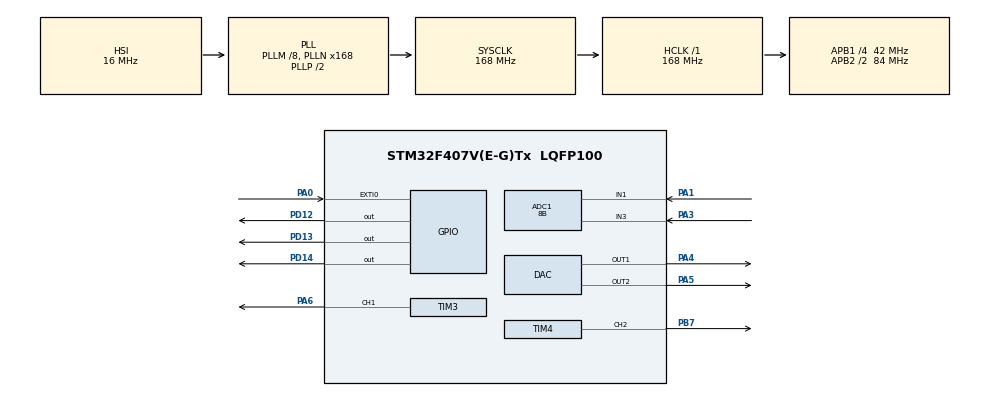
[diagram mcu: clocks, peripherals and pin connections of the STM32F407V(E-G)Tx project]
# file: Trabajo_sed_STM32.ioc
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ADC1.Channel-0\#ChannelRegularConversion=ADC_CHANNEL_1
ADC1.Channel-1\#ChannelRegularConversion=ADC_CHANNEL_3
ADC1.ClockPrescaler=ADC_CLOCK_SYNC_PCLK_DIV4
ADC1.ContinuousConvMode=ENABLE
ADC1.DMAContinuousRequests=ENABLE
ADC1.ExternalTrigConv=ADC_EXTERNALTRIGCONV_T2_TRGO
ADC1.NbrOfConversion=2
ADC1.NbrOfConversionFlag=1
ADC1.Rank-0\#ChannelRegularConversion=1
ADC1.Rank-1\#ChannelRegularConversion=2
ADC1.Resolution=ADC_RESOLUTION_8B
ADC1.SamplingTime-0\#ChannelRegularConversion=ADC_SAMPLETIME_3CYCLES
ADC1.SamplingTime-1\#ChannelRegularConversion=ADC_SAMPLETIME_3CYCLES
ADC1.master=1
DAC.DAC_OutputBuffer=DAC_OUTPUTBUFFER_ENABLE
DAC.DAC_Trigger=DAC_TRIGGER_T2_TRGO
DAC.DAC_Trigger2=DAC_TRIGGER_T2_TRGO
Dma.ADC1.0.Direction=DMA_PERIPH_TO_MEMORY
Dma.ADC1.0.FIFOMode=DMA_FIFOMODE_DISABLE
Dma.ADC1.0.Instance=DMA2_Stream0
Dma.ADC1.0.MemDataAlignment=DMA_MDATAALIGN_BYTE
Dma.ADC1.0.MemInc=DMA_MINC_ENABLE
Dma.ADC1.0.Mode=DMA_CIRCULAR
Dma.ADC1.0.PeriphDataAlignment=DMA_PDATAALIGN_BYTE
Dma.ADC1.0.PeriphInc=DMA_PINC_DISABLE
Dma.ADC1.0.Priority=DMA_PRIORITY_LOW
Dma.Request0=ADC1
Mcu.Family=STM32F4
Mcu.Name=STM32F407V(E-G)Tx
Mcu.Package=LQFP100
NVIC.DMA2_Stream0_IRQn=true\:0\:0\:false\:false\:true\:false\:true
NVIC.EXTI0_IRQn=true\:0\:0\:false\:false\:true\:true\:true
NVIC.PriorityGroup=NVIC_PRIORITYGROUP_0
NVIC.TIM1_BRK_TIM9_IRQn=true\:0\:0\:false\:false\:true\:true\:true
NVIC.TIM1_CC_IRQn=true\:0\:0\:false\:false\:true\:true\:true
NVIC.TIM1_TRG_COM_TIM11_IRQn=true\:0\:0\:false\:false\:true\:true\:true
NVIC.TIM1_UP_TIM10_IRQn=true\:0\:0\:false\:false\:true\:true\:true
PA0-WKUP.Signal=GPXTI0
PA1.Signal=ADCx_IN1
PA3.Signal=ADCx_IN3
PA4.Signal=COMP_DAC1_group
PA5.Signal=COMP_DAC2_group
PA6.Signal=S_TIM3_CH1
PB7.Signal=S_TIM4_CH2
PD12.Signal=GPIO_Output
PD13.Signal=GPIO_Output
PD14.Signal=GPIO_Output
ProjectManager.HeapSize=0x200
ProjectManager.StackSize=0x400
ProjectManager.TargetToolchain=STM32CubeIDE
RCC.48MHZClocksFreq_Value=48000000
RCC.AHBFreq_Value=168000000
RCC.APB1CLKDivider=RCC_HCLK_DIV4
RCC.APB1Freq_Value=42000000
RCC.APB1TimFreq_Value=84000000
RCC.APB2CLKDivider=RCC_HCLK_DIV2
RCC.APB2Freq_Value=84000000
RCC.APB2TimFreq_Value=168000000
RCC.CortexFreq_Value=168000000
RCC.HCLKFreq_Value=168000000
RCC.HSE_VALUE=8000000
RCC.HSI_VALUE=16000000
RCC.LSE_VALUE=32768
RCC.PLLM=8
RCC.PLLN=168
RCC.PLLQ=7
RCC.SYSCLKFreq_VALUE=168000000
RCC.SYSCLKSource=RCC_SYSCLKSOURCE_PLLCLK
RCC.VCOOutputFreq_Value=336000000
SH.ADCx_IN1.0=ADC1_IN1,IN1
SH.ADCx_IN3.0=ADC1_IN3,IN3
SH.COMP_DAC1_group.0=DAC_OUT1,DAC_OUT1
SH.COMP_DAC2_group.0=DAC_OUT2,DAC_OUT2
SH.S_TIM3_CH1.0=TIM3_CH1,PWM Generation1 CH1
SH.S_TIM4_CH2.0=TIM4_CH2,PWM Generation2 CH2
TIM1.Period=500
TIM1.Prescaler=16800
TIM2.Period=1000
TIM2.Prescaler=0
TIM2.TIM_MasterOutputTrigger=TIM_TRGO_UPDATE
TIM3.Channel-PWM\ Generation1\ CH1=TIM_CHANNEL_1
TIM3.Period=9
TIM3.Prescaler=99
TIM4.Channel-PWM\ Generation2\ CH2=TIM_CHANNEL_2
TIM4.Period=9
TIM4.Prescaler=99
VP_TIM1_VS_ClockSourceINT.Mode=Internal
VP_TIM2_VS_ClockSourceINT.Mode=Internal
VP_TIM3_VS_ClockSourceINT.Mode=Internal
VP_TIM4_VS_ClockSourceINT.Mode=Internal
board=STM32F407G-DISC1

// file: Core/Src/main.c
/* USER CODE BEGIN Header */
/**
  ******************************************************************************
  * @file           : main.c
  * @brief          : Main program body
  ******************************************************************************
  * @attention
  *
  * Copyright (c) 2021 STMicroelectronics.
  * All rights reserved.
  *
  * This software is licensed under terms that can be found in the LICENSE file
  * in the root directory of this software component.
  * If no LICENSE file comes with this software, it is provided AS-IS.
  *
  ******************************************************************************
  */
/* USER CODE END Header */
#include "main.h"

ADC_HandleTypeDef hadc1;
DMA_HandleTypeDef hdma_adc1;

DAC_HandleTypeDef hdac;

TIM_HandleTypeDef htim1;
TIM_HandleTypeDef htim2;
TIM_HandleTypeDef htim3;
TIM_HandleTypeDef htim4;

void SystemClock_Config(void);
static void MX_GPIO_Init(void);
static void MX_DMA_Init(void);
static void MX_ADC1_Init(void);
static void MX_TIM2_Init(void);
static void MX_DAC_Init(void);
static void MX_TIM3_Init(void);
static void MX_TIM4_Init(void);
static void MX_TIM1_Init(void);

/* USER CODE BEGIN 0 */
volatile int flag=0;
volatile int state=1;

void HAL_GPIO_EXTI_Callback(uint16_t GPIO_Pin)
{
	if(GPIO_Pin == GPIO_PIN_0 && state == 1){
		HAL_TIM_Base_Start_IT(&htim1);
		state = 0;
	}
}

//uint8_t medida;
volatile uint8_t buffer_in[2];
volatile int led_bajos, led_agudos;
volatile float senal_mono;
volatile int duty_cycle_1, duty_cycle_2;

//muestras para los filtros
float lx_1, lx_2, ly_1, ly_2;
float rx_1, rx_2, ry_1, ry_2;
float pbx_1, pbx_2, pby_1, pby_2;
float pax_1, pax_2, pay_1, pay_2;

//filtro paso bajo 20kHz
float a0 = 0.172893986607494;
float a1 = 0.345787973214988;
float a2 = 0.172893986607494;
float b1 = -0.5300387539709135;
float b2 = 0.22161470040088946;

//filtro paso bajo 250Hz
float a0_pb = 0.00008627874687691115;
float a1_pb = 0.0001725574937538223;
float a2_pb = 0.00008627874687691115;
float b1_pb = -1.9735555323380392;
float b2_pb = 0.9739006473255466;

//filtro paso alto 2kHz
float a0_pa = 0.09534175821687875;
float a1_pa = 0;
float a2_pa = -0.09534175821687875;
float b1_pa = -1.7891079133475518;
float b2_pa = 0.8093164835662425;

//filtros para audio
int filtro_l(int muestra){

	//formula del filtro
	float muestra_in = (float) muestra;
	float muestra_out = a0 * muestra_in + a1 * lx_1 + a2 * lx_2 - b1 * ly_1 - b2 * ly_2;
	//mover valores un puesto
	lx_2 = lx_1;
	lx_1 = muestra_in;
	ly_2 = ly_1;
	ly_1 = muestra_out;
	//devolver valor
	return (int) muestra_out;
}

int filtro_r(int muestra){

	//formula del filtro
	float muestra_in = (float) muestra;
	float muestra_out = a0 * muestra_in + a1 * rx_1 + a2 * rx_2 - b1 * ry_1 - b2 * ry_2;
	//mover valores un puesto
	rx_2 = rx_1;
	rx_1 = muestra_in;
	ry_2 = ry_1;
	ry_1 = muestra_out;
	//devolver valor
	return (int) muestra_out;
}

//filtro paso bajo (led rojo)
int filtro_pb(int muestra){

	//formula del filtro
	float muestra_in = (float) muestra;
	float muestra_out = a0_pb * muestra_in + a1_pb * pbx_1 + a2_pb * pbx_2 - b1_pb * pby_1 - b2_pb * pby_2;
	//mover valores un puesto
	pbx_2 = pbx_1;
	pbx_1 = muestra_in;
	pby_2 = pby_1;
	pby_1 = muestra_out;
	//devolver valor
	return (int) muestra_out;
}

//filtro paso alto (led azul)
int filtro_pa(int muestra){

	//formula del filtro
	float muestra_in = (float) muestra;
	float muestra_out = a0_pa * muestra_in + a1_pa * pax_1 + a2_pa * pax_2 - b1_pa * pay_1 - b2_pa * pay_2;
	//mover valores un puesto
	pax_2 = pax_1;
	pax_1 = muestra_in;
	pay_2 = pay_1;
	pay_1 = muestra_out;
	//devolver valor
	return (int) muestra_out;
}
/* USER CODE END 0 */

int main(void)
{

  /* MCU Configuration--------------------------------------------------------*/

  /* Reset of all peripherals, Initializes the Flash interface and the Systick. */
  HAL_Init();

  /* Configure the system clock */
  SystemClock_Config();

  /* Initialize all configured peripherals */
  MX_GPIO_Init();
  MX_DMA_Init();
  MX_ADC1_Init();
  MX_TIM2_Init();
  MX_DAC_Init();
  MX_TIM3_Init();
  MX_TIM4_Init();
  MX_TIM1_Init();
  /* USER CODE BEGIN 2 */
  HAL_TIM_Base_Start_IT(&htim2);
  HAL_TIM_PWM_Start(&htim3, TIM_CHANNEL_1);
  HAL_TIM_PWM_Start(&htim4, TIM_CHANNEL_2);
  HAL_ADC_Start_DMA(&hadc1, buffer_in, 2);
  HAL_DAC_Start(&hdac, DAC_CHANNEL_1);
  HAL_DAC_Start(&hdac, DAC_CHANNEL_2);
  /* USER CODE END 2 */

  /* Infinite loop */
  while (1)
  {

  }
}

void SystemClock_Config(void)
{
  RCC_OscInitTypeDef RCC_OscInitStruct = {0};
  RCC_ClkInitTypeDef RCC_ClkInitStruct = {0};

  /** Configure the main internal regulator output voltage
  */
  __HAL_RCC_PWR_CLK_ENABLE();
  __HAL_PWR_VOLTAGESCALING_CONFIG(PWR_REGULATOR_VOLTAGE_SCALE1);
  /** Initializes the RCC Oscillators according to the specified parameters
  * in the RCC_OscInitTypeDef structure.
  */
  RCC_OscInitStruct.OscillatorType = RCC_OSCILLATORTYPE_HSI;
  RCC_OscInitStruct.HSIState = RCC_HSI_ON;
  RCC_OscInitStruct.HSICalibrationValue = RCC_HSICALIBRATION_DEFAULT;
  RCC_OscInitStruct.PLL.PLLState = RCC_PLL_ON;
  RCC_OscInitStruct.PLL.PLLSource = RCC_PLLSOURCE_HSI;
  RCC_OscInitStruct.PLL.PLLM = 8;
  RCC_OscInitStruct.PLL.PLLN = 168;
  RCC_OscInitStruct.PLL.PLLP = RCC_PLLP_DIV2;
  RCC_OscInitStruct.PLL.PLLQ = 7;
  if (HAL_RCC_OscConfig(&RCC_OscInitStruct) != HAL_OK)
  {
    Error_Handler();
  }
  /** Initializes the CPU, AHB and APB buses clocks
  */
  RCC_ClkInitStruct.ClockType = RCC_CLOCKTYPE_HCLK|RCC_CLOCKTYPE_SYSCLK
                              |RCC_CLOCKTYPE_PCLK1|RCC_CLOCKTYPE_PCLK2;
  RCC_ClkInitStruct.SYSCLKSource = RCC_SYSCLKSOURCE_PLLCLK;
  RCC_ClkInitStruct.AHBCLKDivider = RCC_SYSCLK_DIV1;
  RCC_ClkInitStruct.APB1CLKDivider = RCC_HCLK_DIV4;
  RCC_ClkInitStruct.APB2CLKDivider = RCC_HCLK_DIV2;

  if (HAL_RCC_ClockConfig(&RCC_ClkInitStruct, FLASH_LATENCY_5) != HAL_OK)
  {
    Error_Handler();
  }
}

static void MX_ADC1_Init(void)
{

  ADC_ChannelConfTypeDef sConfig = {0};

  /** Configure the global features of the ADC (Clock, Resolution, Data Alignment and number of conversion)
  */
  hadc1.Instance = ADC1;
  hadc1.Init.ClockPrescaler = ADC_CLOCK_SYNC_PCLK_DIV4;
  hadc1.Init.Resolution = ADC_RESOLUTION_8B;
  hadc1.Init.ScanConvMode = ENABLE;
  hadc1.Init.ContinuousConvMode = ENABLE;
  hadc1.Init.DiscontinuousConvMode = DISABLE;
  hadc1.Init.ExternalTrigConvEdge = ADC_EXTERNALTRIGCONVEDGE_RISING;
  hadc1.Init.ExternalTrigConv = ADC_EXTERNALTRIGCONV_T2_TRGO;
  hadc1.Init.DataAlign = ADC_DATAALIGN_RIGHT;
  hadc1.Init.NbrOfConversion = 2;
  hadc1.Init.DMAContinuousRequests = ENABLE;
  hadc1.Init.EOCSelection = ADC_EOC_SINGLE_CONV;
  if (HAL_ADC_Init(&hadc1) != HAL_OK)
  {
    Error_Handler();
  }
  /** Configure for the selected ADC regular channel its corresponding rank in the sequencer and its sample time.
  */
  sConfig.Channel = ADC_CHANNEL_1;
  sConfig.Rank = 1;
  sConfig.SamplingTime = ADC_SAMPLETIME_3CYCLES;
  if (HAL_ADC_ConfigChannel(&hadc1, &sConfig) != HAL_OK)
  {
    Error_Handler();
  }
  /** Configure for the selected ADC regular channel its corresponding rank in the sequencer and its sample time.
  */
  sConfig.Channel = ADC_CHANNEL_3;
  sConfig.Rank = 2;
  if (HAL_ADC_ConfigChannel(&hadc1, &sConfig) != HAL_OK)
  {
    Error_Handler();
  }

}

static void MX_DAC_Init(void)
{

  DAC_ChannelConfTypeDef sConfig = {0};

  /** DAC Initialization
  */
  hdac.Instance = DAC;
  if (HAL_DAC_Init(&hdac) != HAL_OK)
  {
    Error_Handler();
  }
  /** DAC channel OUT1 config
  */
  sConfig.DAC_Trigger = DAC_TRIGGER_T2_TRGO;
  sConfig.DAC_OutputBuffer = DAC_OUTPUTBUFFER_ENABLE;
  if (HAL_DAC_ConfigChannel(&hdac, &sConfig, DAC_CHANNEL_1) != HAL_OK)
  {
    Error_Handler();
  }
  /** DAC channel OUT2 config
  */
  if (HAL_DAC_ConfigChannel(&hdac, &sConfig, DAC_CHANNEL_2) != HAL_OK)
  {
    Error_Handler();
  }

}

static void MX_TIM1_Init(void)
{

  TIM_ClockConfigTypeDef sClockSourceConfig = {0};
  TIM_MasterConfigTypeDef sMasterConfig = {0};

  htim1.Instance = TIM1;
  htim1.Init.Prescaler = 16800;
  htim1.Init.CounterMode = TIM_COUNTERMODE_UP;
  htim1.Init.Period = 500;
  htim1.Init.ClockDivision = TIM_CLOCKDIVISION_DIV1;
  htim1.Init.RepetitionCounter = 0;
  htim1.Init.AutoReloadPreload = TIM_AUTORELOAD_PRELOAD_DISABLE;
  if (HAL_TIM_Base_Init(&htim1) != HAL_OK)
  {
    Error_Handler();
  }
  sClockSourceConfig.ClockSource = TIM_CLOCKSOURCE_INTERNAL;
  if (HAL_TIM_ConfigClockSource(&htim1, &sClockSourceConfig) != HAL_OK)
  {
    Error_Handler();
  }
  sMasterConfig.MasterOutputTrigger = TIM_TRGO_RESET;
  sMasterConfig.MasterSlaveMode = TIM_MASTERSLAVEMODE_DISABLE;
  if (HAL_TIMEx_MasterConfigSynchronization(&htim1, &sMasterConfig) != HAL_OK)
  {
    Error_Handler();
  }

}

static void MX_TIM2_Init(void)
{

  TIM_ClockConfigTypeDef sClockSourceConfig = {0};
  TIM_MasterConfigTypeDef sMasterConfig = {0};

  htim2.Instance = TIM2;
  htim2.Init.Prescaler = 0;
  htim2.Init.CounterMode = TIM_COUNTERMODE_UP;
  htim2.Init.Period = 1000;
  htim2.Init.ClockDivision = TIM_CLOCKDIVISION_DIV1;
  htim2.Init.AutoReloadPreload = TIM_AUTORELOAD_PRELOAD_DISABLE;
  if (HAL_TIM_Base_Init(&htim2) != HAL_OK)
  {
    Error_Handler();
  }
  sClockSourceConfig.ClockSource = TIM_CLOCKSOURCE_INTERNAL;
  if (HAL_TIM_ConfigClockSource(&htim2, &sClockSourceConfig) != HAL_OK)
  {
    Error_Handler();
  }
  sMasterConfig.MasterOutputTrigger = TIM_TRGO_UPDATE;
  sMasterConfig.MasterSlaveMode = TIM_MASTERSLAVEMODE_DISABLE;
  if (HAL_TIMEx_MasterConfigSynchronization(&htim2, &sMasterConfig) != HAL_OK)
  {
    Error_Handler();
  }

}

static void MX_TIM3_Init(void)
{

  TIM_ClockConfigTypeDef sClockSourceConfig = {0};
  TIM_MasterConfigTypeDef sMasterConfig = {0};
  TIM_OC_InitTypeDef sConfigOC = {0};

  htim3.Instance = TIM3;
  htim3.Init.Prescaler = 99;
  htim3.Init.CounterMode = TIM_COUNTERMODE_UP;
  htim3.Init.Period = 9;
  htim3.Init.ClockDivision = TIM_CLOCKDIVISION_DIV1;
  htim3.Init.AutoReloadPreload = TIM_AUTORELOAD_PRELOAD_DISABLE;
  if (HAL_TIM_Base_Init(&htim3) != HAL_OK)
  {
    Error_Handler();
  }
  sClockSourceConfig.ClockSource = TIM_CLOCKSOURCE_INTERNAL;
  if (HAL_TIM_ConfigClockSource(&htim3, &sClockSourceConfig) != HAL_OK)
  {
    Error_Handler();
  }
  if (HAL_TIM_PWM_Init(&htim3) != HAL_OK)
  {
    Error_Handler();
  }
  sMasterConfig.MasterOutputTrigger = TIM_TRGO_RESET;
  sMasterConfig.MasterSlaveMode = TIM_MASTERSLAVEMODE_DISABLE;
  if (HAL_TIMEx_MasterConfigSynchronization(&htim3, &sMasterConfig) != HAL_OK)
  {
    Error_Handler();
  }
  sConfigOC.OCMode = TIM_OCMODE_PWM1;
  sConfigOC.Pulse = 0;
  sConfigOC.OCPolarity = TIM_OCPOLARITY_HIGH;
  sConfigOC.OCFastMode = TIM_OCFAST_DISABLE;
  if (HAL_TIM_PWM_ConfigChannel(&htim3, &sConfigOC, TIM_CHANNEL_1) != HAL_OK)
  {
    Error_Handler();
  }
  HAL_TIM_MspPostInit(&htim3);

}

static void MX_TIM4_Init(void)
{

  TIM_ClockConfigTypeDef sClockSourceConfig = {0};
  TIM_MasterConfigTypeDef sMasterConfig = {0};
  TIM_OC_InitTypeDef sConfigOC = {0};

  htim4.Instance = TIM4;
  htim4.Init.Prescaler = 99;
  htim4.Init.CounterMode = TIM_COUNTERMODE_UP;
  htim4.Init.Period = 9;
  htim4.Init.ClockDivision = TIM_CLOCKDIVISION_DIV1;
  htim4.Init.AutoReloadPreload = TIM_AUTORELOAD_PRELOAD_DISABLE;
  if (HAL_TIM_Base_Init(&htim4) != HAL_OK)
  {
    Error_Handler();
  }
  sClockSourceConfig.ClockSource = TIM_CLOCKSOURCE_INTERNAL;
  if (HAL_TIM_ConfigClockSource(&htim4, &sClockSourceConfig) != HAL_OK)
  {
    Error_Handler();
  }
  if (HAL_TIM_PWM_Init(&htim4) != HAL_OK)
  {
    Error_Handler();
  }
  sMasterConfig.MasterOutputTrigger = TIM_TRGO_RESET;
  sMasterConfig.MasterSlaveMode = TIM_MASTERSLAVEMODE_DISABLE;
  if (HAL_TIMEx_MasterConfigSynchronization(&htim4, &sMasterConfig) != HAL_OK)
  {
    Error_Handler();
  }
  sConfigOC.OCMode = TIM_OCMODE_PWM1;
  sConfigOC.Pulse = 0;
  sConfigOC.OCPolarity = TIM_OCPOLARITY_HIGH;
  sConfigOC.OCFastMode = TIM_OCFAST_DISABLE;
  if (HAL_TIM_PWM_ConfigChannel(&htim4, &sConfigOC, TIM_CHANNEL_2) != HAL_OK)
  {
    Error_Handler();
  }
  HAL_TIM_MspPostInit(&htim4);

}

static void MX_DMA_Init(void)
{

  /* DMA controller clock enable */
  __HAL_RCC_DMA2_CLK_ENABLE();

  /* DMA interrupt init */
  /* DMA2_Stream0_IRQn interrupt configuration */
  HAL_NVIC_SetPriority(DMA2_Stream0_IRQn, 0, 0);
  HAL_NVIC_EnableIRQ(DMA2_Stream0_IRQn);

}

static void MX_GPIO_Init(void)
{
  GPIO_InitTypeDef GPIO_InitStruct = {0};

  /* GPIO Ports Clock Enable */
  __HAL_RCC_GPIOA_CLK_ENABLE();
  __HAL_RCC_GPIOD_CLK_ENABLE();
  __HAL_RCC_GPIOB_CLK_ENABLE();

  /*Configure GPIO pin Output Level */
  HAL_GPIO_WritePin(GPIOD, GPIO_PIN_12|GPIO_PIN_13|GPIO_PIN_14, GPIO_PIN_RESET);

  /*Configure GPIO pin : PA0 */
  GPIO_InitStruct.Pin = GPIO_PIN_0;
  GPIO_InitStruct.Mode = GPIO_MODE_IT_RISING;
  GPIO_InitStruct.Pull = GPIO_NOPULL;
  HAL_GPIO_Init(GPIOA, &GPIO_InitStruct);

  /*Configure GPIO pins : PD12 PD13 PD14 */
  GPIO_InitStruct.Pin = GPIO_PIN_12|GPIO_PIN_13|GPIO_PIN_14;
  GPIO_InitStruct.Mode = GPIO_MODE_OUTPUT_PP;
  GPIO_InitStruct.Pull = GPIO_NOPULL;
  GPIO_InitStruct.Speed = GPIO_SPEED_FREQ_LOW;
  HAL_GPIO_Init(GPIOD, &GPIO_InitStruct);

  /* EXTI interrupt init*/
  HAL_NVIC_SetPriority(EXTI0_IRQn, 0, 0);
  HAL_NVIC_EnableIRQ(EXTI0_IRQn);

}

/* USER CODE BEGIN 4 */
void HAL_TIM_PeriodElapsedCallback(TIM_HandleTypeDef *htim)
{
	if(htim->Instance == TIM1){
		if(HAL_GPIO_ReadPin(GPIOA, GPIO_PIN_0) == GPIO_PIN_RESET){
			flag++;
			if (flag > 2){
				flag = 0;
			}
			state = 1;
			HAL_TIM_Base_Stop_IT(&htim1);
		}
	}
}

void HAL_ADC_ConvCpltCallback(ADC_HandleTypeDef *AdcHandle){

	int muestra_l = buffer_in[0];//canal l
	int muestra_r = buffer_in[1];//canal r
	senal_mono = (buffer_in[0] >> 1) + (buffer_in[1] >> 1) - 141;

	//tratamiento de señal para las luces
	int temp_led_bajos = filtro_pb(senal_mono);
	int temp_led_agudos = filtro_pa(senal_mono);

	//elevar la señal al cuadrado
	temp_led_bajos = temp_led_bajos * temp_led_bajos;
	temp_led_agudos = temp_led_agudos * temp_led_agudos;
	//temp_led_bajos *= 4;
	//temp_led_agudos *= 4;

	led_bajos = temp_led_bajos;
	led_agudos = temp_led_agudos;

	//filtro para el audio
	switch(flag){
		case 0:
			muestra_l = filtro_l(muestra_l) - 141;
			muestra_r = filtro_r(muestra_r) - 141;
			HAL_GPIO_WritePin(GPIOD, GPIO_PIN_12, 1);
			HAL_GPIO_WritePin(GPIOD, GPIO_PIN_13, 0);
			HAL_GPIO_WritePin(GPIOD, GPIO_PIN_14, 0);
			break;
		case 1:
			muestra_l = filtro_pb(senal_mono);
			muestra_r = muestra_l;
			HAL_GPIO_WritePin(GPIOD, GPIO_PIN_12, 0);
			HAL_GPIO_WritePin(GPIOD, GPIO_PIN_13, 1);
			HAL_GPIO_WritePin(GPIOD, GPIO_PIN_14, 0);
			break;
		case 2:
			muestra_l = filtro_pa(senal_mono);
			muestra_r = muestra_l;
			HAL_GPIO_WritePin(GPIOD, GPIO_PIN_12, 0);
			HAL_GPIO_WritePin(GPIOD, GPIO_PIN_13, 0);
			HAL_GPIO_WritePin(GPIOD, GPIO_PIN_14, 1);
			break;
	}

	//agrandar la señal a 3 bits
	muestra_l *= 4;
	muestra_r *= 4;
	//colocar un poco de continua para que no tome valores negativos
	muestra_l += 1024;
	muestra_r += 1024;
	//DAC asincrono
	HAL_DAC_SetValue(&hdac, DAC_CHANNEL_1, DAC_ALIGN_12B_R, muestra_l);
	HAL_DAC_SetValue(&hdac, DAC_CHANNEL_2, DAC_ALIGN_12B_R, muestra_r);

	duty_cycle_1 = (100 * led_bajos) / 2048; // pondera la señal del 0 al 100
    duty_cycle_2 = (100 * led_agudos) / 2048;
    __HAL_TIM_SET_COMPARE(&htim3, TIM_CHANNEL_1, duty_cycle_1);
    __HAL_TIM_SET_COMPARE(&htim4, TIM_CHANNEL_2, duty_cycle_2);
	//si se quiere visualizar la señal anlogica de los leds

	//HAL_DAC_SetValue(&hdac, DAC_CHANNEL_1, DAC_ALIGN_12B_R, led_bajos);
	//HAL_DAC_SetValue(&hdac, DAC_CHANNEL_2, DAC_ALIGN_12B_R, led_agudos);

}
/* USER CODE END 4 */

void Error_Handler(void)
{
  __disable_irq();
  while (1)
  {
  }
}
